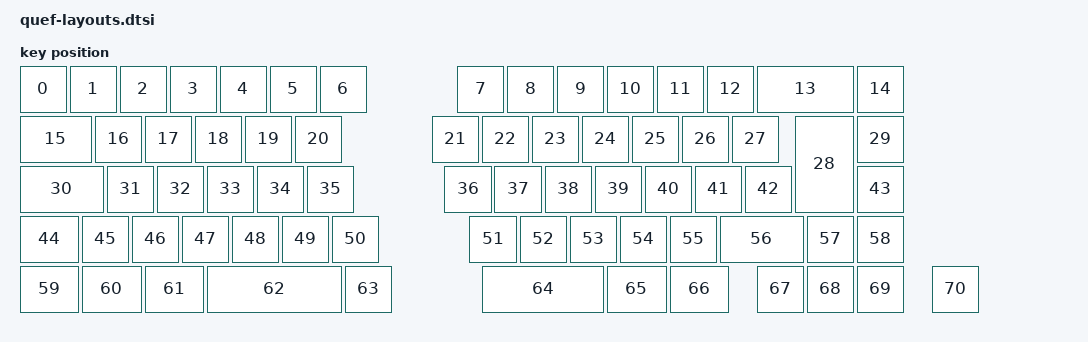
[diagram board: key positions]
#include <physical_layouts.dtsi>

/ {
    physical_layout_0: physical_layout_0 {
        compatible = "zmk,physical-layout";
        display-name = "SplitME Layout";

        kscan = <&kscan0>;
        transform = <&default_transform>;

        keys  //                     w   h    x    y     rot    rx    ry
            = <&key_physical_attrs 100 100    0    0       0     0     0>
            , <&key_physical_attrs 100 100  100    0       0     0     0>
            , <&key_physical_attrs 100 100  200    0       0     0     0>
            , <&key_physical_attrs 100 100  300    0       0     0     0>
            , <&key_physical_attrs 100 100  400    0       0     0     0>
            , <&key_physical_attrs 100 100  500    0       0     0     0>
            , <&key_physical_attrs 100 100  600    0       0     0     0>
            , <&key_physical_attrs 100 100  875    0       0     0     0>
            , <&key_physical_attrs 100 100  975    0       0     0     0>
            , <&key_physical_attrs 100 100 1075    0       0     0     0>
            , <&key_physical_attrs 100 100 1175    0       0     0     0>
            , <&key_physical_attrs 100 100 1275    0       0     0     0>
            , <&key_physical_attrs 100 100 1375    0       0     0     0>
            , <&key_physical_attrs 200 100 1475    0       0     0     0>
            , <&key_physical_attrs 100 100 1675    0       0     0     0>
            , <&key_physical_attrs 150 100    0  100       0     0     0>
            , <&key_physical_attrs 100 100  150  100       0     0     0>
            , <&key_physical_attrs 100 100  250  100       0     0     0>
            , <&key_physical_attrs 100 100  350  100       0     0     0>
            , <&key_physical_attrs 100 100  450  100       0     0     0>
            , <&key_physical_attrs 100 100  550  100       0     0     0>
            , <&key_physical_attrs 100 100  825  100       0     0     0>
            , <&key_physical_attrs 100 100  925  100       0     0     0>
            , <&key_physical_attrs 100 100 1025  100       0     0     0>
            , <&key_physical_attrs 100 100 1125  100       0     0     0>
            , <&key_physical_attrs 100 100 1225  100       0     0     0>
            , <&key_physical_attrs 100 100 1325  100       0     0     0>
            , <&key_physical_attrs 100 100 1425  100       0     0     0>
            , <&key_physical_attrs 125 200 1550  100       0     0     0>
            , <&key_physical_attrs 100 100 1675  100       0     0     0>
            , <&key_physical_attrs 175 100    0  200       0     0     0>
            , <&key_physical_attrs 100 100  175  200       0     0     0>
            , <&key_physical_attrs 100 100  275  200       0     0     0>
            , <&key_physical_attrs 100 100  375  200       0     0     0>
            , <&key_physical_attrs 100 100  475  200       0     0     0>
            , <&key_physical_attrs 100 100  575  200       0     0     0>
            , <&key_physical_attrs 100 100  850  200       0     0     0>
            , <&key_physical_attrs 100 100  950  200       0     0     0>
            , <&key_physical_attrs 100 100 1050  200       0     0     0>
            , <&key_physical_attrs 100 100 1150  200       0     0     0>
            , <&key_physical_attrs 100 100 1250  200       0     0     0>
            , <&key_physical_attrs 100 100 1350  200       0     0     0>
            , <&key_physical_attrs 100 100 1450  200       0     0     0>
            , <&key_physical_attrs 100 100 1675  200       0     0     0>
            , <&key_physical_attrs 125 100    0  300       0     0     0>
            , <&key_physical_attrs 100 100  125  300       0     0     0>
            , <&key_physical_attrs 100 100  225  300       0     0     0>
            , <&key_physical_attrs 100 100  325  300       0     0     0>
            , <&key_physical_attrs 100 100  425  300       0     0     0>
            , <&key_physical_attrs 100 100  525  300       0     0     0>
            , <&key_physical_attrs 100 100  625  300       0     0     0>
            , <&key_physical_attrs 100 100  900  300       0     0     0>
            , <&key_physical_attrs 100 100 1000  300       0     0     0>
            , <&key_physical_attrs 100 100 1100  300       0     0     0>
            , <&key_physical_attrs 100 100 1200  300       0     0     0>
            , <&key_physical_attrs 100 100 1300  300       0     0     0>
            , <&key_physical_attrs 175 100 1400  300       0     0     0>
            , <&key_physical_attrs 100 100 1575  300       0     0     0>
            , <&key_physical_attrs 100 100 1675  300       0     0     0>
            , <&key_physical_attrs 125 100    0  400       0     0     0>
            , <&key_physical_attrs 125 100  125  400       0     0     0>
            , <&key_physical_attrs 125 100  250  400       0     0     0>
            , <&key_physical_attrs 275 100  375  400       0     0     0>
            , <&key_physical_attrs 100 100  650  400       0     0     0>
            , <&key_physical_attrs 250 100  925  400       0     0     0>
            , <&key_physical_attrs 125 100 1175  400       0     0     0>
            , <&key_physical_attrs 125 100 1300  400       0     0     0>
            , <&key_physical_attrs 100 100 1475  400       0     0     0>
            , <&key_physical_attrs 100 100 1575  400       0     0     0>
            , <&key_physical_attrs 100 100 1675  400       0     0     0>
            , <&key_physical_attrs 100 100 1825  400       0     0     0>
            ;
    };
};
